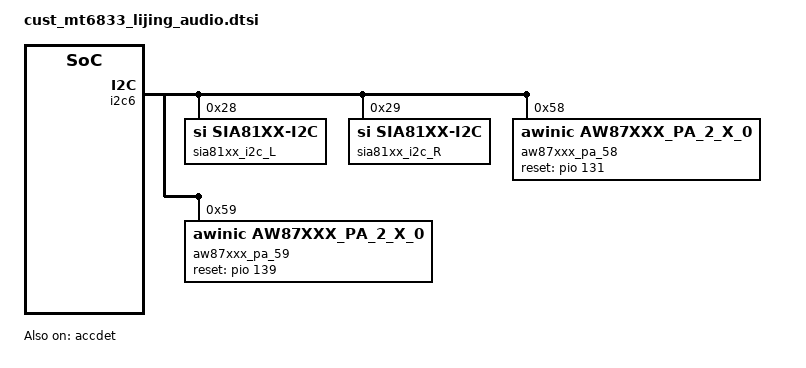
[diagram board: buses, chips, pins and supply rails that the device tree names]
/* Copyright (c) 2018, The Linux Foundation. All rights reserved.
 *
 * This program is free software; you can redistribute it and/or modify
 * it under the terms of the GNU General Public License version 2 and
 * only version 2 as published by the Free Software Foundation.
 *
 * This program is distributed in the hope that it will be useful,
 * but WITHOUT ANY WARRANTY; without even the implied warranty of
 * MERCHANTABILITY or FITNESS FOR A PARTICULAR PURPOSE.  See the
 * GNU General Public License for more details.
 */
/* accdet start */
&accdet {
	/* accdet micbias voltage: 0x09:2.85v 0x08:2.8v 0x07,
	 * 2.7v;0x05,2.5v;0x02,1.9v
	 */
	accdet-mic-vol = <7>;
	/* accdet pwm_width, pwm_thresh, fall_delay, rise_delay
	 * debounce0, debounce1, debounce3, debounce4
	 * eint pwm_width, eint pwm_thresh
	 * eint deb(debounce0, debounce1, debounce2, debounce3), inv_debounce
	 */

	headset-mode-setting = <0x500 0x500 1 0x1f0
				0x1325 0x800 0x3D4 0x44
				0x0 0x7
				0x5 0x9 0x9 0xd 0xe>;

	/*headset-mode-setting = <0x500 0x500 1 0x1f0
	*                      0x800 0x800 0x20 0x44
	*                      0x4 0x1
	*                      0x5 0x3 0x3 0x5 0xe>;
	*/

	accdet-plugout-debounce = <1>;
	/*1:ACC mode, 2:low cost without in bias, 6:low cost with in bias*/
	accdet-mic-mode = <2>;
	/*0--MD_MAX--UP_MAX--DW_MAX*/

	headset-three-key-threshold = <0 82 170 306>;

	//headset-three-key-threshold = <0 80 220 400>;

	headset-three-key-threshold-CDD = <0 121 192 600>;
	/*0--MD_MAX--VOICE_MAX--UP_MAX--DW_MAX*/
	headset-four-key-threshold = <0 58 121 192 400>;


	/* moisture HW mode config start. Enable moisture detection or not
	 * default use HW mode for moisture detection
	 */
	moisture_detect_enable = <1>;

	/* select VTH to 2v and 500k, use internal resitance */
	eint_use_ext_res = <0>;

	/* enable eint detection mode, if moisture detection enable
	 * eint_detect_mode = moisture_detect_mode;otherwise, select
	 * eint_detect_mode = 4 as DEFAULT
	 */
	eint_detect_mode = <5>;
	/* enable moisture detection mode, if moisture detection enable
	 * eint_detect_mode = moisture_detect_mode
	 */
	moisture_detect_mode = <5>;
	/* select 0: 2.8V; 1: 2.4V; 2: 2V; 3: VTH=MVTH(VTH2) */
	moisture_comp_vth = <2>;
//#ifdef OPLUS_BUG_COMPATIBILITY
	moisture_comp_vref2 = <2>;
//#else
	/* vref2 voltage for different water impedance */
	//moisture_comp_vref2 = <0>;
//#endif
	/* moisture HW mode config end */

	/* moisture SW mode config start, use external resister or not.
	 * DEFAULT NOT NEED
	 */
	moisture_use_ext_res = <0>;
	/* moisture external resister ohm, SW mode by auxadc */
	moisture-external-r = <2000000>;
	/* moisture internal resister ohm, SW mode by auxadc */
	moisture-internal-r = <47000>;
	/* moisture of water resister ohm, SW mode by auxadc*/
	moisture-water-r = <10000>;
	/* moisture SW mode config end */
        //#endif /* VENDOR_EDIT */
	status = "okay";
};
/* accdet end */

&pio {
	sia81xx_gpio_L: sia81xx_gpio_L {
		pins_cmd_dat {
			pinmux = <PINMUX_GPIO63__FUNC_GPIO63>;
			slew-rate = <1>;
			bias-disable;
		};
	};
};

&sia81xx_L {
	compatible = "si,sia81xx";
	si,si_pa_type = "sia8109";
	si,si_pa_reset = <&pio 63 0>;
	pinctrl-names = "sia81xx_gpio";
	pinctrl-0 = <&sia81xx_gpio_L>;
	si,sia81xx_disable_pin = <0>;
	channel_num = <0>;
	owi_mode = <1>;
};

&sia81xx_R {
        compatible = "si,sia81xx";
        si,si_pa_type = "sia8109";
        si,si_pa_reset = <&pio 63 0>;
        pinctrl-names = "sia81xx_gpio";
        pinctrl-0 = <&sia81xx_gpio_L>;
        si,sia81xx_disable_pin = <0>;
        channel_num = <1>;
        owi_mode = <1>;
};

&sound {
	/* this dtsi config for product's special config, AudioHal read ctl 'OPLUS_AUDIO_EXTEN_CONFIG' get the values*
	 * 1st value --> PA type: 0:NXP Pa, 1:Awinic Pa 2:sia81xx Pa*/
	audio_extern_config = <2>;
	si,sia81xx-max-num = <2>;
	si,sia81xx-aux-devs = <&sia81xx_L>, <&sia81xx_R>;
	si,sia81xx-aux-devs-prefix = "SpkrLeft", "SpkrRight";
};

&i2c6 {
	sia81xx_i2c_L: sia81xx_i2c@L {
		compatible = "si,sia81xx-i2c";
		reg = <0x28>;
		si,sia81xx-dev = <&sia81xx_L>;
	};

	sia81xx_i2c_R: sia81xx_i2c@R {
		compatible = "si,sia81xx-i2c";
		reg = <0x29>;
		si,sia81xx-dev = <&sia81xx_R>;
	};

	aw87xxx_pa_58@58 {
		compatible = "awinic,aw87xxx_pa_2_x_0";
		reset-gpio = <&pio 131 0>;
		reg = <0x58>;
		dev_index = < 0 >;
		aw-voltags-min = /bits/ 8 <0x02>;
		status = "okay";
	};

	aw87xxx_pa_59@59 {
		compatible = "awinic,aw87xxx_pa_2_x_0";
		reset-gpio = <&pio 139 0>;
		reg = <0x59>;
		dev_index = < 1 >;
		aw-voltags-min = /bits/ 8 <0x02>;
		status = "okay";
	};

};

//#ifdef OPLUS_FEATURE_AUDIODRIVER
//add for type-c headset and si smartpa
//oplus extend audio
/*
&audio_extend {
	//for sipa speaker
	oplus,speaker-vendor = "sipa";
	oplus,speaker-i2s-id = <3>;
	oplus,speaker-i2s-id-in = <0>;
	oplus,speaker-codec-name = "sipa_i2c.6-006c","sipa_i2c.6-006d";
	oplus,speaker-codec-dai-name = "sia91xx-aif-6-6c","sia91xx-aif-6-6d";
	oplus,spk-i2s-index = <3 9>;
};
*/
//#endif /* OPLUS_FEATURE_AUDIODRIVER */
